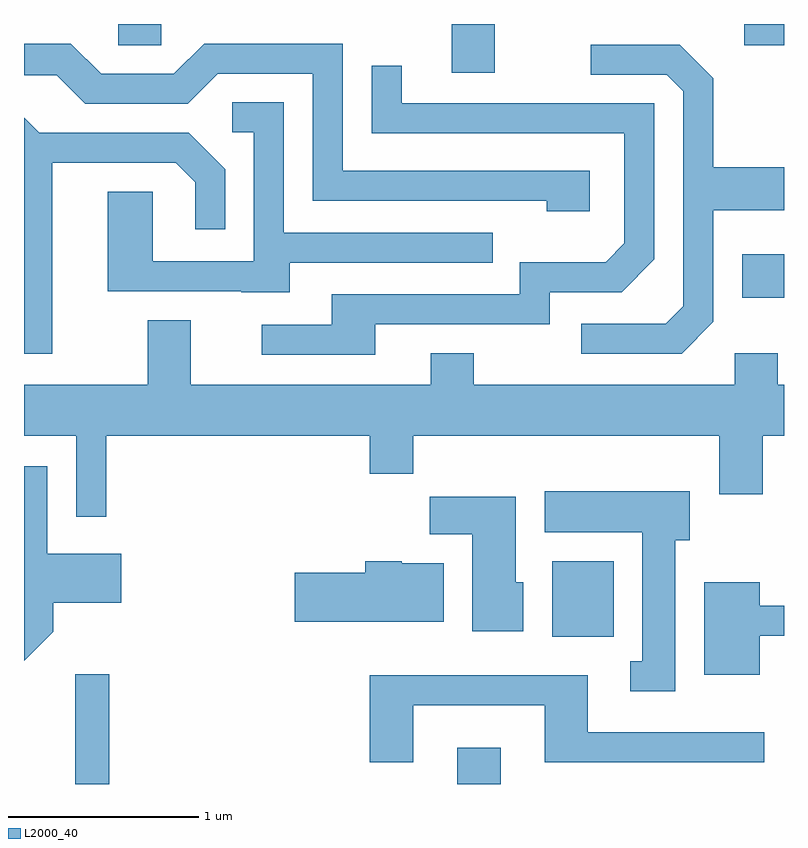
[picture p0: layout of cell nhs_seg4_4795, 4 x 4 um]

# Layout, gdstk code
import gdstk
lib = gdstk.Library(unit=1e-6, precision=1e-09)
def R(c, l, rs):  # rectangles x0, y0, x1, y1
    for r in rs: c.add(gdstk.rectangle(r[:2], r[2:], *l))
def P(c, l, *ps):  # polygons
    for p in ps: c.add(gdstk.Polygon(p, *l))
L2000_40 = (2000, 40)

nhs_seg4_4795 = lib.new_cell('nhs_seg4_4795')
R(nhs_seg4_4795, L2000_40, [(325.881,1323.982,326.059,1324.559), (327.891,1323.982,328.119,1324.174), (328.391,1324.756,328.714,1325.154), (329.391,1326.541,329.611,1326.769), (327.861,1327.726,328.089,1327.982), (326.106,1327.871,326.334,1327.982), (329.401,1327.871,329.611,1327.982)])
P(nhs_seg4_4795, L2000_40, [(328.589,1327.209),(327.289,1327.209),(327.289,1327.879),(326.559,1327.879),(326.399,1327.719),(326.017,1327.719),(325.857,1327.879),(325.611,1327.879),(325.611,1327.711),(325.784,1327.711),(325.934,1327.561),(326.472,1327.561),(326.632,1327.721),(327.131,1327.721),(327.131,1327.051),(328.361,1327.051),(328.361,1326.996),(328.589,1326.996)],
  [(329.239,1326.414),(329.239,1327.001),(329.611,1327.001),(329.611,1327.229),(329.239,1327.229),(329.239,1327.697),(329.062,1327.874),(328.593,1327.874),(328.593,1327.716),(328.994,1327.716),(329.081,1327.629),(329.081,1326.497),(328.989,1326.404),(328.543,1326.404),(328.543,1326.246),(329.072,1326.246)],
  [(327.459,1326.401),(328.379,1326.401),(328.379,1326.571),(328.757,1326.571),(328.929,1326.744),(328.929,1327.564),(327.599,1327.564),(327.599,1327.763),(327.441,1327.763),(327.441,1327.406),(328.771,1327.406),(328.771,1326.827),(328.674,1326.729),(328.221,1326.729),(328.221,1326.559),(327.231,1326.559),(327.231,1326.399),(326.863,1326.399),(326.863,1326.241),(327.459,1326.241)],
  [(327.009,1326.726),(328.078,1326.726),(328.078,1326.884),(326.979,1326.884),(326.979,1327.569),(326.708,1327.569),(326.708,1327.411),(326.821,1327.411),(326.821,1326.734),(326.289,1326.734),(326.289,1327.099),(326.051,1327.099),(326.051,1326.576),(326.755,1326.576),(326.755,1326.571),(327.009,1326.571)],
  [(325.759,1327.251),(326.409,1327.251),(326.511,1327.149),(326.511,1326.903),(326.669,1326.903),(326.669,1327.217),(326.477,1327.409),(325.692,1327.409),(325.612,1327.489),(325.611,1327.489),(325.611,1326.246),(325.759,1326.246)],
  [(326.044,1325.816),(327.431,1325.816),(327.431,1325.616),(327.659,1325.616),(327.659,1325.816),(329.271,1325.816),(329.271,1325.506),(329.499,1325.506),(329.499,1325.816),(329.611,1325.816),(329.611,1326.084),(329.579,1326.084),(329.579,1326.249),(329.351,1326.249),(329.351,1326.084),(327.979,1326.084),(327.979,1326.249),(327.751,1326.249),(327.751,1326.084),(326.489,1326.084),(326.489,1326.424),(326.261,1326.424),(326.261,1326.084),(325.611,1326.084),(325.611,1325.816),(325.886,1325.816),(325.886,1325.388),(326.044,1325.388)],
  [(325.764,1324.784),(325.764,1324.936),(326.124,1324.936),(326.124,1325.194),(325.734,1325.194),(325.734,1325.654),(325.611,1325.654),(325.611,1324.631)],
  [(329.039,1325.266),(329.114,1325.266),(329.114,1325.524),(328.351,1325.524),(328.351,1325.306),(328.866,1325.306),(328.866,1324.629),(328.803,1324.629),(328.803,1324.471),(329.039,1324.471)],
  [(328.239,1325.044),(328.199,1325.044),(328.199,1325.494),(327.746,1325.494),(327.746,1325.296),(327.971,1325.296),(327.971,1324.786),(328.239,1324.786)],
  [(327.819,1325.144),(327.6,1325.144),(327.6,1325.154),(327.406,1325.154),(327.406,1325.094),(327.036,1325.094),(327.036,1324.836),(327.819,1324.836)],
  [(329.484,1324.761),(329.611,1324.761),(329.611,1324.919),(329.484,1324.919),(329.484,1325.044),(329.191,1325.044),(329.191,1324.556),(329.484,1324.556)],
  [(327.659,1324.396),(328.351,1324.396),(328.351,1324.096),(329.508,1324.096),(329.508,1324.254),(328.579,1324.254),(328.579,1324.554),(327.431,1324.554),(327.431,1324.096),(327.659,1324.096)])

lib.write_gds('nhs_seg4_4795.gds')
